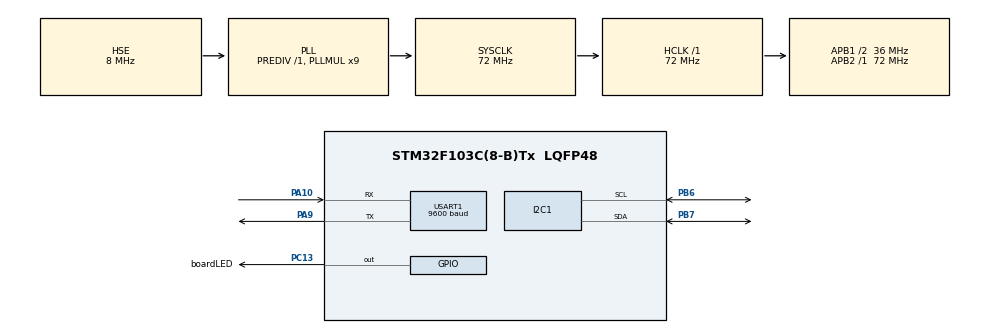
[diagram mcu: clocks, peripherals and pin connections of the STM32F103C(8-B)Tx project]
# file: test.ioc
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I2C1.I2C_Mode=I2C_Fast
Mcu.Family=STM32F1
Mcu.Name=STM32F103C(8-B)Tx
Mcu.Package=LQFP48
NVIC.PriorityGroup=NVIC_PRIORITYGROUP_4
PA10.Mode=Asynchronous
PA10.Signal=USART1_RX
PA13.Mode=Serial_Wire
PA13.Signal=SYS_JTMS-SWDIO
PA14.Mode=Serial_Wire
PA14.Signal=SYS_JTCK-SWCLK
PA9.Mode=Asynchronous
PA9.Signal=USART1_TX
PB6.Mode=I2C
PB6.Signal=I2C1_SCL
PB7.Mode=I2C
PB7.Signal=I2C1_SDA
PC13-TAMPER-RTC.GPIO_Label=boardLED
PC13-TAMPER-RTC.Signal=GPIO_Output
PD0-OSC_IN.Mode=HSE-External-Oscillator
PD0-OSC_IN.Signal=RCC_OSC_IN
PD1-OSC_OUT.Mode=HSE-External-Oscillator
PD1-OSC_OUT.Signal=RCC_OSC_OUT
ProjectManager.HeapSize=0x200
ProjectManager.StackSize=0x400
ProjectManager.TargetToolchain=STM32CubeIDE
RCC.AHBFreq_Value=72000000
RCC.APB1CLKDivider=RCC_HCLK_DIV2
RCC.APB1Freq_Value=36000000
RCC.APB1TimFreq_Value=72000000
RCC.APB2Freq_Value=72000000
RCC.APB2TimFreq_Value=72000000
RCC.HCLKFreq_Value=72000000
RCC.PLLMUL=RCC_PLL_MUL9
RCC.PLLSourceVirtual=RCC_PLLSOURCE_HSE
RCC.SYSCLKFreq_VALUE=72000000
RCC.SYSCLKSource=RCC_SYSCLKSOURCE_PLLCLK
RCC.USBFreq_Value=72000000
USART1.BaudRate=9600
USART1.VirtualMode=VM_ASYNC
board=custom

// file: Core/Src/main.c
/* USER CODE BEGIN Header */
/**
  ******************************************************************************
  * @file           : main.c
  * @brief          : Main program body
  ******************************************************************************
  * @attention
  *
  * Copyright (c) 2025 STMicroelectronics.
  * All rights reserved.
  *
  * This software is licensed under terms that can be found in the LICENSE file
  * in the root directory of this software component.
  * If no LICENSE file comes with this software, it is provided AS-IS.
  *
  ******************************************************************************
  */
/* USER CODE END Header */
#include "main.h"

/* USER CODE BEGIN Includes */
#include "DHT.h"
#include "ssd1306.h"
#include "fonts.h"
#include <stdio.h>
#include <stdbool.h>

/* USER CODE END Includes */

/* USER CODE BEGIN PD */
#define BASE_UPDATE 250
#define DHT_ERROR_DELAY 10000 / BASE_UPDATE
#define CO2_ERROR_DELAY 10000 / BASE_UPDATE
#define CO2_HEATING 3 * 60 * 1000 / BASE_UPDATE
/* USER CODE END PD */

I2C_HandleTypeDef hi2c1;

UART_HandleTypeDef huart1;

void SystemClock_Config(void);
static void MX_GPIO_Init(void);
static void MX_I2C1_Init(void);
static void MX_USART1_UART_Init(void);

/* USER CODE BEGIN 0 */
#define MHZ19B_UART &huart1
int MHZ19B_GetCO2() {
	uint8_t response[9];
	uint8_t cmd_get_co2[] = { 0xFF, 0x01, 0x86, 0x00, 0x00, 0x00, 0x00, 0x00, 0x79 };
	HAL_StatusTypeDef tx = HAL_UART_Transmit(MHZ19B_UART, cmd_get_co2, sizeof(cmd_get_co2), 100);
	HAL_StatusTypeDef rx = HAL_UART_Receive(MHZ19B_UART, response, 9, 100);
    if (tx == HAL_OK && rx == HAL_OK) {
        uint16_t co2 = (response[2] << 8) | response[3];
        uint8_t checksum = 0;
        for(int i = 1; i < 8; i++)
                checksum += response[i];
    	checksum = 0xff - checksum;
    	checksum++;
    	if(checksum == response[8])
    		return co2;
    	else
    		return -1;
    }
    return -1;
}

/* USER CODE END 0 */

int main(void)
{

  /* MCU Configuration--------------------------------------------------------*/

  /* Reset of all peripherals, Initializes the Flash interface and the Systick. */
  HAL_Init();

  /* Configure the system clock */
  SystemClock_Config();

  /* Initialize all configured peripherals */
  MX_GPIO_Init();
  MX_I2C1_Init();
  MX_USART1_UART_Init();
  /* USER CODE BEGIN 2 */

  static DHT_sensor bedRoom = {GPIOA, GPIO_PIN_1, DHT22, GPIO_PULLUP};
  int co2 = -1;
  DHT_data d =  {-128.0f,-128.0f};
  int dht_error = 0;
  int co2_error = 0;
  char buf[120];
  SSD1306_Init ();

  /* USER CODE END 2 */

  /* Infinite loop */
  /* USER CODE BEGIN WHILE */
  bool got_co2_error = false;
  bool got_dht_error = false;
  bool needs_refresh = false;
  int heating_co2 = 0;
  while (1)
  {
	    SSD1306_GotoXY (10,7);
	    if(dht_error >= DHT_ERROR_DELAY) {
	    	if(got_dht_error == false){
	    		got_dht_error = true;
	    		needs_refresh = true;
	    	}
	    	sprintf(buf, "  DHT22 Error          ");
	    	SSD1306_Puts (buf, &Font_7x10, 1);
	    }
	    else
	    {
	    	d = DHT_getData(&bedRoom);
			if(d.temp > -128.0f || d.hum > -128.0f) {
				sprintf(buf, "| %-2.1fC  %2.1f%% |      ",
						d.temp, d.hum);
				dht_error = 0;
				SSD1306_Puts (buf, &Font_7x10, 1);
			}
			else
				dht_error++;
	    }
	    SSD1306_GotoXY (10,18);
	    if(heating_co2 == CO2_HEATING){
			if(co2_error >= CO2_ERROR_DELAY){
				if(got_co2_error == false){
					got_co2_error = true;
					needs_refresh = true;
				}
				sprintf(buf, "  MHZ19 Error        ");
				SSD1306_Puts (buf, &Font_7x10, 1);
			}
			else{
				co2 = MHZ19B_GetCO2();
				if(co2 != -1){
					sprintf(buf, "| CO2  %-4dppm |    ", co2);
					co2_error = 0;
					SSD1306_Puts (buf, &Font_7x10, 1);
				}
				else
					co2_error++;
			}
	    }
	    else
	    {
	    	co2 = MHZ19B_GetCO2();
			sprintf(buf, "CO2 wait %-3dsec.        ",
					(CO2_HEATING-heating_co2)*BASE_UPDATE/1000);
			SSD1306_Puts (buf, &Font_7x10, 1);
	    	heating_co2++;
	    	if(heating_co2 == CO2_HEATING)
	    		needs_refresh = true;
	    }
	    if (needs_refresh){
	    	SSD1306_Fill(SSD1306_COLOR_BLACK);
	    	needs_refresh = false;
	    }
	    SSD1306_UpdateScreen();
	    HAL_Delay(BASE_UPDATE);
    /* USER CODE END WHILE */

  }
}

void SystemClock_Config(void)
{
  RCC_OscInitTypeDef RCC_OscInitStruct = {0};
  RCC_ClkInitTypeDef RCC_ClkInitStruct = {0};

  /** Initializes the RCC Oscillators according to the specified parameters
  * in the RCC_OscInitTypeDef structure.
  */
  RCC_OscInitStruct.OscillatorType = RCC_OSCILLATORTYPE_HSE;
  RCC_OscInitStruct.HSEState = RCC_HSE_ON;
  RCC_OscInitStruct.HSEPredivValue = RCC_HSE_PREDIV_DIV1;
  RCC_OscInitStruct.HSIState = RCC_HSI_ON;
  RCC_OscInitStruct.PLL.PLLState = RCC_PLL_ON;
  RCC_OscInitStruct.PLL.PLLSource = RCC_PLLSOURCE_HSE;
  RCC_OscInitStruct.PLL.PLLMUL = RCC_PLL_MUL9;
  if (HAL_RCC_OscConfig(&RCC_OscInitStruct) != HAL_OK)
  {
    Error_Handler();
  }

  /** Initializes the CPU, AHB and APB buses clocks
  */
  RCC_ClkInitStruct.ClockType = RCC_CLOCKTYPE_HCLK|RCC_CLOCKTYPE_SYSCLK
                              |RCC_CLOCKTYPE_PCLK1|RCC_CLOCKTYPE_PCLK2;
  RCC_ClkInitStruct.SYSCLKSource = RCC_SYSCLKSOURCE_PLLCLK;
  RCC_ClkInitStruct.AHBCLKDivider = RCC_SYSCLK_DIV1;
  RCC_ClkInitStruct.APB1CLKDivider = RCC_HCLK_DIV2;
  RCC_ClkInitStruct.APB2CLKDivider = RCC_HCLK_DIV1;

  if (HAL_RCC_ClockConfig(&RCC_ClkInitStruct, FLASH_LATENCY_2) != HAL_OK)
  {
    Error_Handler();
  }
}

static void MX_I2C1_Init(void)
{

  hi2c1.Instance = I2C1;
  hi2c1.Init.ClockSpeed = 400000;
  hi2c1.Init.DutyCycle = I2C_DUTYCYCLE_2;
  hi2c1.Init.OwnAddress1 = 0;
  hi2c1.Init.AddressingMode = I2C_ADDRESSINGMODE_7BIT;
  hi2c1.Init.DualAddressMode = I2C_DUALADDRESS_DISABLE;
  hi2c1.Init.OwnAddress2 = 0;
  hi2c1.Init.GeneralCallMode = I2C_GENERALCALL_DISABLE;
  hi2c1.Init.NoStretchMode = I2C_NOSTRETCH_DISABLE;
  if (HAL_I2C_Init(&hi2c1) != HAL_OK)
  {
    Error_Handler();
  }

}

static void MX_USART1_UART_Init(void)
{

  huart1.Instance = USART1;
  huart1.Init.BaudRate = 9600;
  huart1.Init.WordLength = UART_WORDLENGTH_8B;
  huart1.Init.StopBits = UART_STOPBITS_1;
  huart1.Init.Parity = UART_PARITY_NONE;
  huart1.Init.Mode = UART_MODE_TX_RX;
  huart1.Init.HwFlowCtl = UART_HWCONTROL_NONE;
  huart1.Init.OverSampling = UART_OVERSAMPLING_16;
  if (HAL_UART_Init(&huart1) != HAL_OK)
  {
    Error_Handler();
  }

}

static void MX_GPIO_Init(void)
{
  GPIO_InitTypeDef GPIO_InitStruct = {0};

  /* GPIO Ports Clock Enable */
  __HAL_RCC_GPIOC_CLK_ENABLE();
  __HAL_RCC_GPIOD_CLK_ENABLE();
  __HAL_RCC_GPIOA_CLK_ENABLE();
  __HAL_RCC_GPIOB_CLK_ENABLE();

  /*Configure GPIO pin Output Level */
  HAL_GPIO_WritePin(boardLED_GPIO_Port, boardLED_Pin, GPIO_PIN_RESET);

  /*Configure GPIO pin : boardLED_Pin */
  GPIO_InitStruct.Pin = boardLED_Pin;
  GPIO_InitStruct.Mode = GPIO_MODE_OUTPUT_PP;
  GPIO_InitStruct.Pull = GPIO_NOPULL;
  GPIO_InitStruct.Speed = GPIO_SPEED_FREQ_LOW;
  HAL_GPIO_Init(boardLED_GPIO_Port, &GPIO_InitStruct);

}

void Error_Handler(void)
{
  __disable_irq();
  while (1)
  {
  }
}
